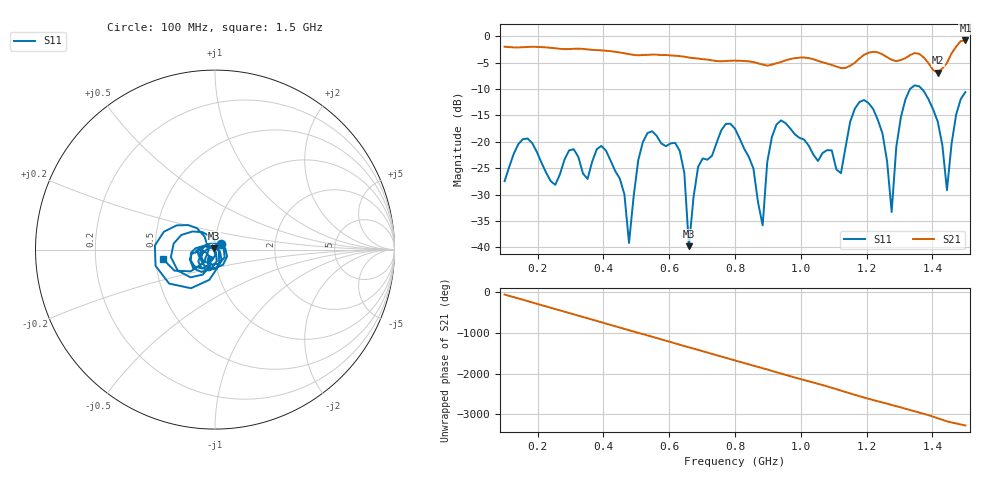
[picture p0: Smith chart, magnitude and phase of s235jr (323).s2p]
! NanoVNA-App
! Date: 2025-09-25 15:06:40
! Start: 100MHz Stop: 1,5GHz Points: 101
! S-Parameter data: F S11 S21 S12 S22
# Hz S RI R 50
!  Frequency  S11_Real  S11_Imag  S21_Real  S21_Imag  S12_Real  S12_Imag  S22_Real  S22_Imag
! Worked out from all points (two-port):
!   101 points, 100 MHz to 1.5 GHz, reference 50 ohm
!   highest |S21| = -0.78 dB at 1.5 GHz (marker M1); lowest = -6.9 dB at 1.416 GHz (marker M2)
!   |S21| within 3 dB of the highest: start of sweep to 636 MHz; 1.187 GHz to 1.257 GHz (70.74 MHz wide, 5.79 % of centre) (the widest 2 of 4)
!   lowest |S11| = -39.8 dB at 660 MHz (marker M3), VSWR 1.02, Z = 49.2 + j0.616 ohm
!   |S11| at or under -10 dB: start of sweep to 1.332 GHz; 1.368 GHz to end of sweep
!   S12 and S22 are empty: the file has one direction only
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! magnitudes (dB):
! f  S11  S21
! 100 MHz  -27.5  -2.0
! 170 MHz  -19.4  -2.0
! 338 MHz  -26.0  -2.4
! 408 MHz  -21.7  -2.7
! 478 MHz  -39.2  -3.4
! 520 MHz  -20.1  -3.5
! 576 MHz  -20.3  -3.5
! 632 MHz  -21.7  -3.7
! 660 MHz  -39.8  -4.0
! 688 MHz  -24.7  -4.2
! 800 MHz  -17.5  -4.6
! 884 MHz  -35.8  -5.4
! 926 MHz  -16.7  -5.1
! 1.038 GHz  -22.4  -4.3
! 1.122 GHz  -25.9  -6.0
! 1.206 GHz  -12.7  -3.1
! 1.248 GHz  -18.4  -3.4
! 1.276 GHz  -33.3  -4.4
! 1.332 GHz  -9.9  -3.6
! 1.416 GHz  -16.2  -6.9
! 1.444 GHz  -29.2  -5.0
! 1.5 GHz  -10.6  -0.8
